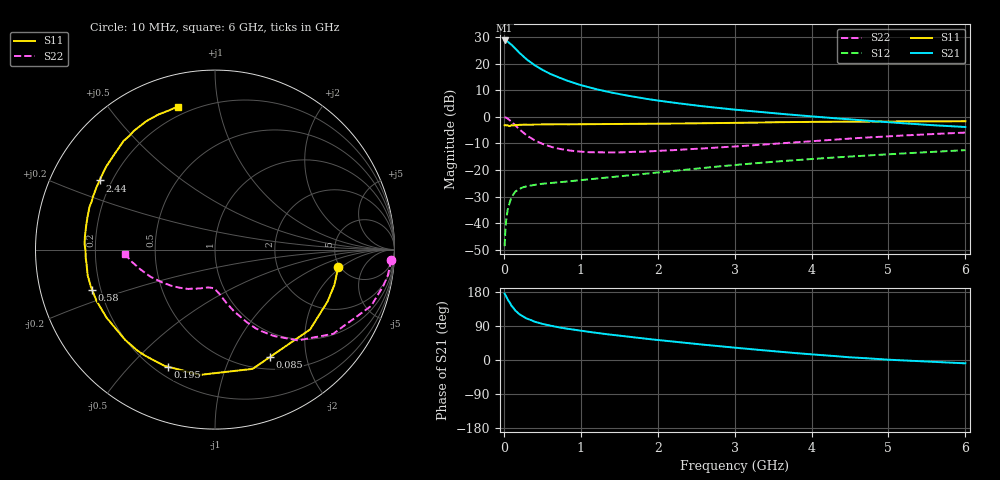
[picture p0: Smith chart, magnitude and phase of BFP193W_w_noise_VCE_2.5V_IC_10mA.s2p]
! Infineon Technologies  Discrete & RF Semiconductors
! BFP193W
! VCE = 2.5 V,  IC =  10 mA
! Common Emitter S-Parameters:  Jan 2016
# GHz  S  MA  R  50
!  f  S11  S21  S12  S22
! GHz  MAG  ANG  MAG  ANG  MAG  ANG  MAG  ANG
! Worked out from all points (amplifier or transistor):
!   210 points, 10 MHz to 6 GHz, reference 50 ohm
!   highest |S21| = 28.7 dB at 10 MHz (marker M1)
!   |S21| within 3 dB of that: start of sweep to 147.9 MHz
!   unconditionally stable (mu >= 1): 1.274 GHz to 4.225 GHz
!   at 185 MHz: K = 0.21, MSG = 26.0 dB, |S12| = -27.5 dB
!   at 1.52 GHz: K = 1.08, MAG = 13.7 dB, |S12| = -22.3 dB
!   at 6 GHz: K = 0.93, MSG = 4.3 dB, |S12| = -12.6 dB
!   lowest NFmin = 1.30 dB at 450 MHz
!   S11 on the Smith chart (normalised r, x): 10 MHz: 4.81, -1.81; 85 MHz: 0.65, -1.43; 195 MHz: 0.25, -0.65; 580 MHz: 0.17, -0.15; 2.44 GHz: 0.15, +0.27; 6 GHz: 0.15, +0.76
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0.01  0.6931 -8.1  27.1 175.0  0.0037 87.1  0.9823 -3.3
0.02  0.6937 -16.4  27.04 171.6  0.0074 81.6  0.9744 -8.3
0.03  0.6908 -24.6  26.84 167.6  0.0111 78.9  0.9596 -12.1
0.05  0.692 -40.0  25.84 159.7  0.0178 72.5  0.9251 -19.8
0.085  0.6722 -62.9  23.31 148.6  0.0268 61.0  0.8366 -30.3
0.1  0.6968 -72.5  22.54 143.1  0.0308 58.2  0.8086 -35.5
0.15  0.7028 -96.8  19.06 130.2  0.0394 48.3  0.6849 -47.6
0.195  0.7033 -111.9  16.3 122.2  0.0433 42.6  0.5923 -54.8
0.24  0.7078 -123.3  14.17 115.8  0.0467 38.3  0.521 -60.5
0.3  0.7099 -134.9  11.84 109.1  0.0495 34.8  0.4422 -66.3
0.4  0.7135 -148.0  9.293 101.1  0.0526 31.8  0.3605 -72.8
0.5  0.7193 -156.7  7.609 95.2  0.0551 31.1  0.3098 -77.3
0.58  0.7206 -162.0  6.648 91.7  0.0564 31.0  0.2823 -80.1
0.8  0.7198 -172.8  4.88 83.3  0.0602 32.6  0.2381 -86.0
1.02  0.7225 179.8  3.861 76.7  0.0648 35.0  0.2195 -91.1
1.4  0.7298 169.9  2.844 66.6  0.0734 39.1  0.2136 -98.5
2.02  0.7408 156.6  1.998 52.4  0.0907 44.1  0.2291 -109.6
2.44  0.7499 149.1  1.664 43.6  0.1041 45.6  0.2471 -117.7
3.1  0.7693 137.9  1.319 30.8  0.1275 45.8  0.282 -130.6
4.1  0.8025 123.1  0.988 13.4  0.1644 42.7  0.3544 -150.1
5.1  0.8157 112.1  0.77 -0.1  0.2008 38.0  0.4373 -166.6
6  0.8234 104.5  0.641 -8.8  0.2356 33.5  0.5036 -177.4
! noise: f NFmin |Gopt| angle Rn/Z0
0.45  1.3  0.22  143  0.11
0.9  1.3  0.34  160  0.11
1.8  2.05  0.54  -153  0.14
